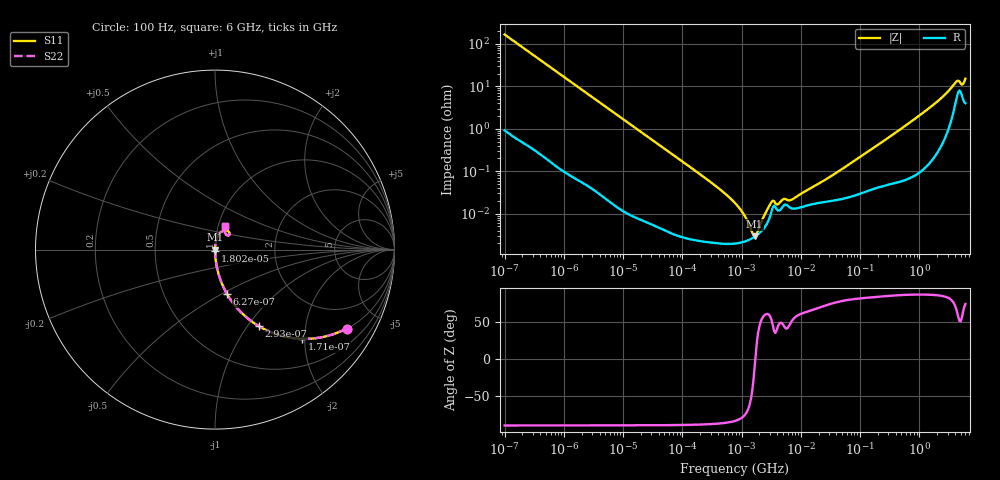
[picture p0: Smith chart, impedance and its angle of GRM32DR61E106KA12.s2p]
!Murata Part Number: GRM32DR61E106KA12
!These Parameters are Measured in Series Mode Connection
!Data Generated on Mar 30, 2021
!  o--ll--o
!Port1  Port2
!  o------o
!Operation Temp=25[degC], DC Bias Voltage=0[V]
!Freq. Start=100[Hz] Stop=6[GHz] 401[Steps]
# Hz S RI R 50
!Freq.(Hz) S11(Real) S11(Imag) S21(Real) S21(Imag) S12(Real) S12(Imag) S22(Real) S22(Imag)
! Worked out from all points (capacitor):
!   401 points, 100 Hz to 6 GHz, reference 50 ohm
!   read as one part in series: C = 9.57 uF near 109 Hz
!   lowest |Z| = 2.91 mohm at 1.658 MHz (marker M1)
!   series resonance near 1.703 MHz, so ESL is about 910 pH
!   S11 on the Smith chart (normalised r, x): 100 Hz: 1.02, -3.32; 171 Hz: 1.01, -1.94; 293 Hz: 1.01, -1.14; 627 Hz: 1.00, -0.53; 18.02 kHz: 1.00, -0.02; 6 GHz: 1.08, +0.29
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100  0.733 -0.4396  0.267 0.4396  0.267 0.4396  0.733 -0.4396
171  0.4861 -0.497  0.5139 0.497  0.5139 0.497  0.4861 -0.497
293  0.2461 -0.4278  0.7539 0.4278  0.7539 0.4278  0.2461 -0.4278
627  0.0677 -0.2483  0.9323 0.2483  0.9323 0.2483  0.0677 -0.2483
2008  0.00748 -0.0829  0.9925 0.0829  0.9925 0.0829  0.00748 -0.0829
18016  0.000164 -0.0094  0.9998 0.0094  0.9998 0.0094  0.000164 -0.0094
40335  6.43e-05 -0.00421  0.9999 0.00421  0.9999 0.00421  6.43e-05 -0.00421
330837  2.08e-05 -0.0005  1 0.0005  1 0.0005  2.08e-05 -0.0005
774597  1.98e-05 -0.000177  1 0.000177  1 0.000177  1.98e-05 -0.000177
1108252  2.19e-05 -9.06e-05  1 9.06e-05  1 9.06e-05  2.19e-05 -9.06e-05
1658239  2.86e-05 -5.5e-06  1 5.5e-06  1 5.5e-06  2.86e-05 -5.5e-06
2372521  4.48e-05 7.34e-05  1 -7.34e-05  1 -7.34e-05  4.48e-05 7.34e-05
3245845  0.000121 0.000151  0.9999 -0.000151  0.9999 -0.000151  0.000121 0.000151
4060267  0.00012 0.000113  0.9999 -0.000113  0.9999 -0.000113  0.00012 0.000113
5079039  0.000153 0.000159  0.9998 -0.000159  0.9998 -0.000159  0.000153 0.000159
6948629  0.000134 0.000165  0.9999 -0.000165  0.9999 -0.000165  0.000134 0.000165
1.555665e7  0.000167 0.000382  0.9998 -0.000382  0.9998 -0.000382  0.000167 0.000382
3.124326e8  0.000527 0.00638  0.9995 -0.00638  0.9995 -0.00638  0.000527 0.00638
1.791126e9  0.00358 0.038  0.9964 -0.038  0.9964 -0.038  0.00358 0.038
4.193612e9  0.0577 0.1069  0.9423 -0.1069  0.9423 -0.1069  0.0577 0.1069
5.245841e9  0.064 0.0808  0.936 -0.0808  0.936 -0.0808  0.064 0.0808
6e9  0.057 0.1318  0.943 -0.1318  0.943 -0.1318  0.057 0.1318
